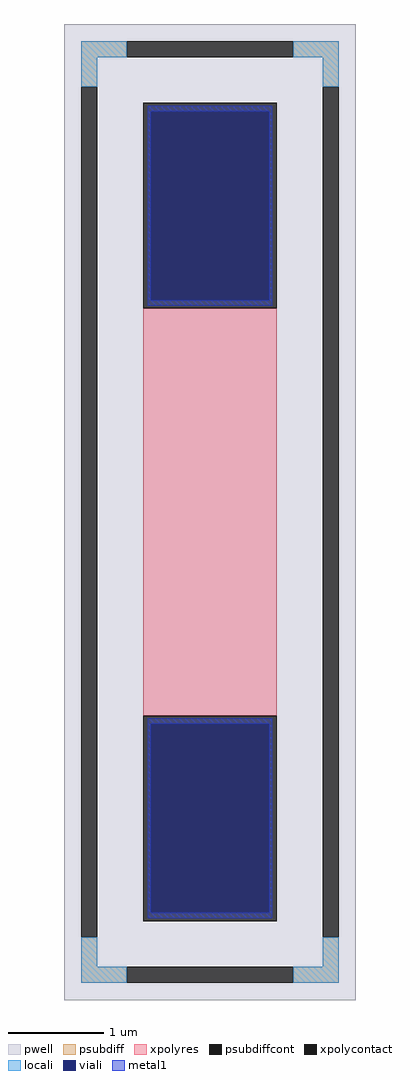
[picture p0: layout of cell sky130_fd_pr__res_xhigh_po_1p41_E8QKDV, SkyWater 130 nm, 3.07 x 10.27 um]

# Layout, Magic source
magic
tech sky130A
magscale 1 2
<< pwell >>
rect -307 -1027 307 1027
<< psubdiff >>
rect -271 957 -175 991
rect 175 957 271 991
rect -271 895 -237 957
rect 237 895 271 957
rect -271 -957 -237 -895
rect 237 -957 271 -895
rect -271 -991 -175 -957
rect 175 -991 271 -957
<< psubdiffcont >>
rect -175 957 175 991
rect -271 -895 -237 895
rect 237 -895 271 895
rect -175 -991 175 -957
<< xpolycontact >>
rect -141 429 141 861
rect -141 -861 141 -429
<< xpolyres >>
rect -141 -429 141 429
<< locali >>
rect -271 957 -175 991
rect 175 957 271 991
rect -271 895 -237 957
rect 237 895 271 957
rect -271 -957 -237 -895
rect 237 -957 271 -895
rect -271 -991 -175 -957
rect 175 -991 271 -957
<< viali >>
rect -125 446 125 843
rect -125 -843 125 -446
<< metal1 >>
rect -131 843 131 855
rect -131 446 -125 843
rect 125 446 131 843
rect -131 434 131 446
rect -131 -446 131 -434
rect -131 -843 -125 -446
rect 125 -843 131 -446
rect -131 -855 131 -843
<< properties >>
string FIXED_BBOX -254 -974 254 974
string gencell sky130_fd_pr__res_xhigh_po_1p41
string library sky130
string parameters w 1.410 l 4.449 m 1 nx 1 wmin 1.410 lmin 0.50 rho 2000 val 6.577k dummy 0 dw 0.0 term 188.2 sterm 0.0 caplen 0 wmax 1.410 guard 1 glc 1 grc 1 gtc 1 gbc 1 compatible {sky130_fd_pr__res_xhigh_po_0p35  sky130_fd_pr__res_xhigh_po_0p69 sky130_fd_pr__res_xhigh_po_1p41  sky130_fd_pr__res_xhigh_po_2p85 sky130_fd_pr__res_xhigh_po_5p73} snake 0 full_metal 1 n_guard 0 hv_guard 0 vias 1 viagb 0 viagt 0 viagl 0 viagr 0
<< end >>
